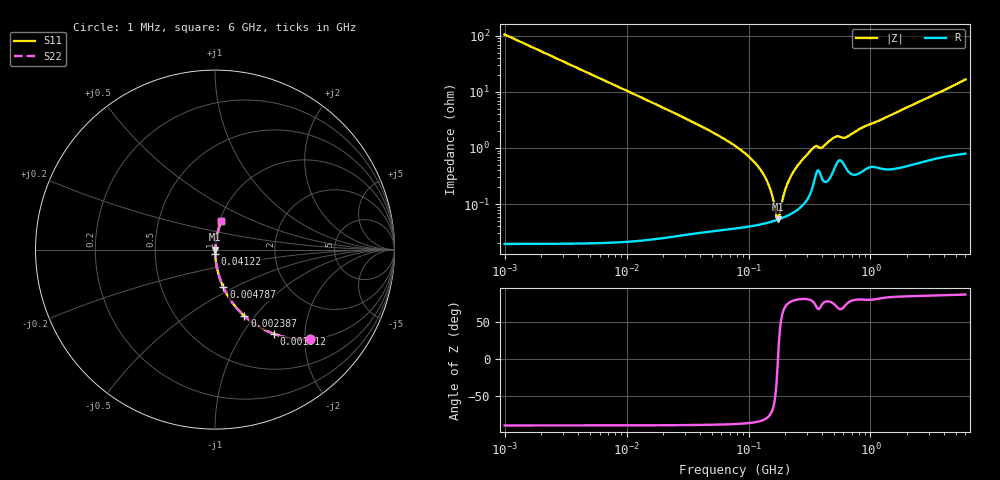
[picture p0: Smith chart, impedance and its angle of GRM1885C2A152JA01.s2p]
!Murata Part Number: GRM1885C2A152JA01
!These Parameters are Measured in Series Mode Connection
!Data Generated on Mar 30, 2021
!  o--ll--o
!Port1  Port2
!  o------o
!Operation Temp=25[degC], DC Bias Voltage=0[V]
!Freq. Start=1000[kHz] Stop=6[GHz] 401[Steps]
# Hz S RI R 50
!Freq.(Hz) S11(Real) S11(Imag) S21(Real) S21(Imag) S12(Real) S12(Imag) S22(Real) S22(Imag)
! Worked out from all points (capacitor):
!   401 points, 1 MHz to 6 GHz, reference 50 ohm
!   read as one part in series: C = 1.5 nF near 1.044 MHz
!   lowest |Z| = 53.1 mohm at 173.2 MHz (marker M1)
!   series resonance near 174.3 MHz, so ESL is about 550 pH
!   S11 on the Smith chart (normalised r, x): 1 MHz: 1.00, -2.12; 1.512 MHz: 1.00, -1.40; 2.387 MHz: 1.00, -0.89; 4.787 MHz: 1.00, -0.44; 41.22 MHz: 1.00, -0.05; 6 GHz: 1.02, +0.33
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1000000  0.528 -0.4991  0.472 0.4991  0.472 0.4991  0.528 -0.4991
1511688  0.3286 -0.4696  0.6714 0.4696  0.6714 0.4696  0.3286 -0.4696
2386795  0.1642 -0.3702  0.8358 0.3702  0.8358 0.3702  0.1642 -0.3702
4293785  0.0573 -0.232  0.9427 0.232  0.9427 0.232  0.0573 -0.232
4787042  0.0466 -0.2104  0.9534 0.2104  0.9534 0.2104  0.0466 -0.2104
1.843659e7  0.00344 -0.0565  0.9966 0.0565  0.9966 0.0565  0.00344 -0.0565
4.12249e7  0.000892 -0.0241  0.9991 0.0241  0.9991 0.0241  0.000892 -0.0241
7.745967e7  0.000485 -0.0109  0.9995 0.0109  0.9995 0.0109  0.000485 -0.0109
1.050294e8  0.000444 -0.00641  0.9996 0.00641  0.9996 0.00641  0.000444 -0.00641
1.305463e8  0.000454 -0.00357  0.9995 0.00357  0.9995 0.00357  0.000454 -0.00357
1.487431e8  0.000478 -0.00194  0.9995 0.00194  0.9995 0.00194  0.000478 -0.00194
1.658303e8  0.000509 -0.000611  0.9995 0.000611  0.9995 0.000611  0.000509 -0.000611
1.732027e8  0.000525 -7.8e-05  0.9995 7.8e-05  0.9995 7.8e-05  0.000525 -7.8e-05
1.809028e8  0.000543 0.000456  0.9995 -0.000456  0.9995 -0.000456  0.000543 0.000456
2.016844e8  0.000602 0.00181  0.9994 -0.00181  0.9994 -0.00181  0.000602 0.00181
2.248532e8  0.000684 0.0032  0.9993 -0.0032  0.9993 -0.0032  0.000684 0.0032
3.325952e8  0.00198 0.00934  0.998 -0.00934  0.998 -0.00934  0.00198 0.00934
4.045054e8  0.00282 0.00995  0.9972 -0.00995  0.9972 -0.00995  0.00282 0.00995
5.138348e8  0.00484 0.015  0.9952 -0.015  0.9952 -0.015  0.00484 0.015
6.386712e8  0.00436 0.0151  0.9956 -0.0151  0.9956 -0.0151  0.00436 0.0151
1.428092e9  0.00551 0.037  0.9945 -0.037  0.9945 -0.037  0.00551 0.037
6e9  0.0344 0.16  0.9656 -0.16  0.9656 -0.16  0.0344 0.16
